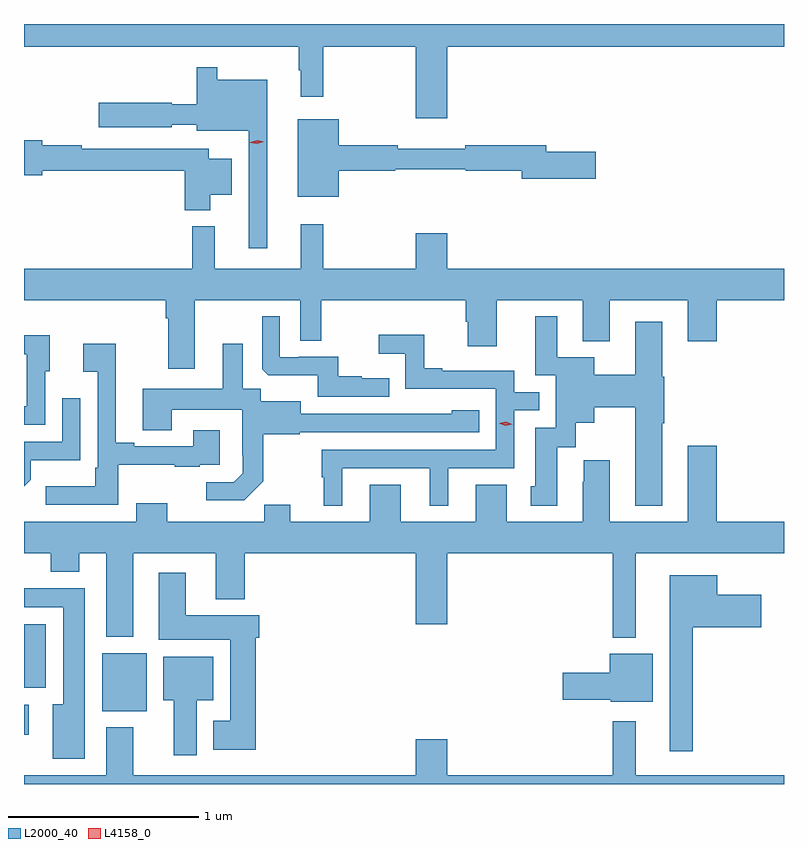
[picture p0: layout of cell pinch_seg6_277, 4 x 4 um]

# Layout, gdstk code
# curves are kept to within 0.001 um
import gdstk
lib = gdstk.Library(unit=1e-6, precision=1e-09)
def R(c, l, rs):  # rectangles x0, y0, x1, y1
    for r in rs: c.add(gdstk.rectangle(r[:2], r[2:], *l))
def P(c, l, *ps):  # polygons
    for p in ps: c.add(gdstk.Polygon(p, *l))
L2000_40 = (2000, 40)
L4158_0 = (4158, 0)

pinch_seg6_277 = lib.new_cell('pinch_seg6_277')
R(pinch_seg6_277, L2000_40, [(870.237,990.336,870.262,990.495), (870.65,990.461,870.883,990.766), (870.237,990.584,870.352,990.919)])
P(pinch_seg6_277, L2000_40, [(872.464,993.956),(874.237,993.956),(874.237,994.077),(870.237,994.077),(870.237,993.956),(871.683,993.956),(871.683,993.833),(871.694,993.833),(871.694,993.693),(871.811,993.693),(871.811,993.956),(872.3,993.956),(872.3,993.582),(872.464,993.582)],
  [(871.516,993.784),(871.255,993.784),(871.255,993.85),(871.145,993.85),(871.145,993.655),(871.014,993.655),(871.014,993.663),(870.63,993.663),(870.63,993.533),(871.014,993.533),(871.014,993.546),(871.145,993.546),(871.145,993.515),(871.419,993.515),(871.419,992.898),(871.516,992.898)],
  [(871.894,993.304),(872.19,993.304),(872.19,993.312),(872.562,993.312),(872.562,993.304),(872.858,993.304),(872.858,993.262),(873.247,993.262),(873.247,993.404),(872.986,993.404),(872.986,993.44),(872.56,993.44),(872.56,993.421),(872.204,993.421),(872.204,993.44),(871.894,993.44),(871.894,993.577),(871.679,993.577),(871.679,993.167),(871.894,993.167)],
  [(871.216,993.179),(871.33,993.179),(871.33,993.367),(871.21,993.367),(871.21,993.42),(870.542,993.42),(870.542,993.44),(870.334,993.44),(870.334,993.464),(870.237,993.464),(870.237,993.281),(870.334,993.281),(870.334,993.304),(871.082,993.304),(871.082,993.098),(871.216,993.098)],
  [(871.135,992.624),(871.692,992.624),(871.692,992.41),(871.801,992.41),(871.801,992.624),(872.561,992.624),(872.561,992.511),(872.573,992.511),(872.573,992.382),(872.725,992.382),(872.725,992.624),(873.179,992.624),(873.179,992.408),(873.319,992.408),(873.319,992.624),(873.731,992.624),(873.731,992.406),(873.884,992.406),(873.884,992.624),(874.237,992.624),(874.237,992.788),(872.464,992.788),(872.464,992.977),(872.3,992.977),(872.3,992.788),(871.811,992.788),(871.811,993.022),(871.694,993.022),(871.694,992.788),(871.241,992.788),(871.241,993.013),(871.123,993.013),(871.123,992.788),(870.237,992.788),(870.237,992.624),(870.983,992.624),(870.983,992.528),(870.995,992.528),(870.995,992.262),(871.135,992.262)],
  [(873.595,991.976),(873.608,991.976),(873.608,992.22),(873.595,992.22),(873.595,992.509),(873.455,992.509),(873.455,992.232),(873.238,992.232),(873.238,992.323),(873.043,992.323),(873.043,992.539),(872.927,992.539),(872.927,992.229),(873.036,992.229),(873.036,991.953),(872.927,991.953),(872.927,991.644),(872.903,991.644),(872.903,991.542),(873.043,991.542),(873.043,991.85),(873.141,991.85),(873.141,991.979),(873.238,991.979),(873.238,992.06),(873.455,992.06),(873.455,991.541),(873.595,991.541)],
  [(872.159,992.212),(872.015,992.212),(872.015,992.224),(871.892,992.224),(871.892,992.325),(871.684,992.325),(871.684,992.322),(871.584,992.322),(871.584,992.539),(871.491,992.539),(871.491,992.259),(871.523,992.228),(871.782,992.228),(871.782,992.115),(872.159,992.115)],
  [(871.912,991.74),(872.372,991.74),(872.372,991.541),(872.47,991.541),(872.47,991.74),(872.817,991.74),(872.817,992.043),(872.95,992.043),(872.95,992.139),(872.817,992.139),(872.817,992.253),(872.437,992.253),(872.437,992.266),(872.343,992.266),(872.343,992.441),(872.103,992.441),(872.103,992.342),(872.244,992.342),(872.244,992.157),(872.721,992.157),(872.721,991.836),(871.803,991.836),(871.803,991.692),(871.814,991.692),(871.814,991.541),(871.912,991.541)],
  [(870.348,992.25),(870.373,992.25),(870.373,992.438),(870.237,992.438),(870.237,992.34),(870.252,992.34),(870.252,992.064),(870.237,992.064),(870.237,991.968),(870.348,991.968)],
  [(870.733,991.757),(871.031,991.757),(871.031,991.746),(871.163,991.746),(871.163,991.758),(871.267,991.758),(871.267,991.939),(871.127,991.939),(871.127,991.854),(870.817,991.854),(870.817,991.873),(870.721,991.873),(870.721,992.395),(870.549,992.395),(870.549,992.246),(870.624,992.246),(870.624,991.741),(870.612,991.741),(870.612,991.645),(870.351,991.645),(870.351,991.548),(870.733,991.548)],
  [(871.497,991.671),(871.497,991.917),(871.689,991.917),(871.689,991.929),(872.632,991.929),(872.632,992.044),(872.487,992.044),(872.487,992.026),(871.693,992.025),(871.693,992.092),(871.482,992.092),(871.482,992.156),(871.387,992.156),(871.387,992.395),(871.283,992.395),(871.283,992.158),(870.863,992.158),(870.863,991.939),(871.015,991.939),(871.015,992.048),(871.386,992.048),(871.386,991.807),(871.388,991.807),(871.388,991.712),(871.341,991.665),(871.197,991.665),(871.197,991.571),(871.397,991.571)],
  [(870.273,991.679),(870.273,991.781),(870.534,991.781),(870.534,992.107),(870.438,992.107),(870.438,991.878),(870.237,991.878),(870.237,991.643)],
  [(873.457,991.292),(874.237,991.292),(874.237,991.456),(873.884,991.456),(873.884,991.858),(873.731,991.858),(873.731,991.456),(873.319,991.456),(873.319,991.78),(873.182,991.78),(873.182,991.667),(873.179,991.667),(873.179,991.456),(872.779,991.456),(872.779,991.651),(872.615,991.651),(872.615,991.456),(872.221,991.456),(872.221,991.651),(872.057,991.651),(872.057,991.456),(871.639,991.456),(871.639,991.547),(871.501,991.547),(871.501,991.456),(870.991,991.456),(870.991,991.555),(870.827,991.555),(870.827,991.456),(870.237,991.456),(870.237,991.292),(870.377,991.292),(870.377,991.193),(870.529,991.193),(870.529,991.292),(870.671,991.292),(870.671,990.851),(870.811,990.851),(870.811,991.292),(871.247,991.292),(871.247,991.049),(871.4,991.049),(871.4,991.292),(872.3,991.292),(872.3,990.918),(872.464,990.918),(872.464,991.292),(873.336,991.292),(873.336,990.848),(873.457,990.848)],
  [(871.457,990.846),(871.475,990.846),(871.475,990.964),(871.087,990.964),(871.087,991.189),(870.947,991.189),(870.947,990.836),(871.322,990.836),(871.322,990.409),(871.232,990.409),(871.232,990.257),(871.457,990.257)],
  [(873.757,990.902),(874.117,990.902),(874.117,991.072),(873.886,991.072),(873.886,991.177),(873.635,991.177),(873.635,990.249),(873.757,990.249)],
  [(870.556,991.106),(870.237,991.106),(870.237,991.008),(870.443,991.008),(870.443,990.496),(870.389,990.496),(870.389,990.21),(870.556,990.21)],
  [(873.547,990.763),(873.32,990.763),(873.32,990.662),(873.072,990.662),(873.072,990.52),(873.324,990.52),(873.324,990.509),(873.547,990.509)],
  [(871.147,990.518),(871.234,990.518),(871.234,990.748),(870.971,990.748),(870.971,990.518),(871.025,990.518),(871.025,990.228),(871.147,990.228)],
  [(873.457,990.406),(873.336,990.406),(873.336,990.124),(872.464,990.124),(872.464,990.313),(872.3,990.313),(872.3,990.124),(870.811,990.124),(870.811,990.376),(870.671,990.376),(870.671,990.124),(870.237,990.124),(870.237,990.077),(874.237,990.077),(874.237,990.124),(873.457,990.124)])
P(pinch_seg6_277, L4158_0, [(872.77,991.963),(872.737,991.975),(872.737,991.976),(872.737,991.976),(872.772,991.983),(872.806,991.971),(872.806,991.971),(872.806,991.971)],
  [(871.465,993.446),(871.429,993.453),(871.429,993.453),(871.429,993.454),(871.464,993.466),(871.5,993.458),(871.5,993.458),(871.5,993.458)])

lib.write_gds('pinch_seg6_277.gds')
